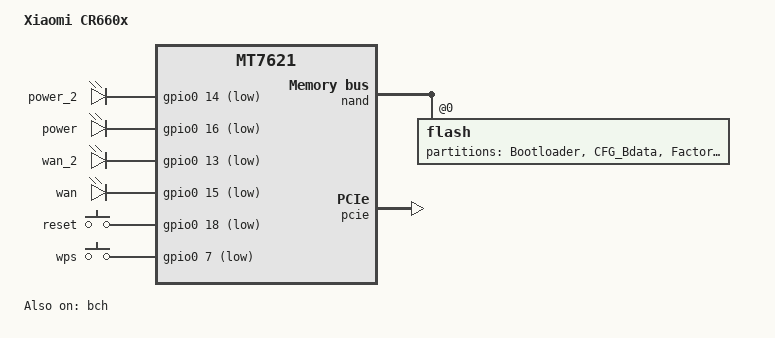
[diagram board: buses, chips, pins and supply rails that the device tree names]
/dts-v1/;

#include "mt7621.dtsi"
#include <dt-bindings/input/input.h>
#include "mt7621-raeth-gmac2.dtsi"
#include "mt7621-pinctrl-default-gpio.dtsi"

/ {
	compatible = "mediatek,mt7621-soc";
	model = "Xiaomi CR660x";

	chosen {
		bootargs = "console=ttyS0,115200";
	};

	leds {
		compatible = "gpio-leds";

		sys_yellow {
			label = "power_2";
			gpios = <&gpio0 14 GPIO_ACTIVE_LOW>;
		};

		sys_blue {
			label = "power";
			gpios = <&gpio0 16 GPIO_ACTIVE_LOW>;
		};

		net_yellow {
			label = "wan_2";
			gpios = <&gpio0 13 GPIO_ACTIVE_LOW>;
		};

		net_blue {
			label = "wan";
			gpios = <&gpio0 15 GPIO_ACTIVE_LOW>;
		};
	};

	gpio-keys-polled {
		compatible = "gpio-keys-polled";
		#address-cells = <1>;
		#size-cells = <0>;
		poll-interval = <20>;

		reset {
			label = "reset";
			gpios = <&gpio0 18 GPIO_ACTIVE_LOW>;
			linux,code = <KEY_RESTART>;
		};

		wps {
			label = "wps";
			gpios = <&gpio0 7 GPIO_ACTIVE_LOW>;
			linux,code = <KEY_WPS_BUTTON>;
		};
	};
};

&bch {
	status = "okay";
};

&nand {
	status = "okay";

	flash@0 {
		reg = <0>;
		nand-ecc-mode = "hw";
		partitions {
			compatible = "fixed-partitions";
			#address-cells = <1>;
			#size-cells = <1>;

			partition@0 {
				label = "Bootloader";
				reg = <0x00000 0x80000>; /* 512k */
			};

			partition@80000 {
				label = "CFG_Bdata";
				reg = <0x80000 0x80000>; /* 512k */
			};

			partition@100000 {
				label = "Factory";
				reg = <0x100000 0x80000>; /* 512k */
			};

			partition@180000 {
				label = "Crash";
				reg = <0x180000 0x80000>; /* 512k */
			};

			partition@200000 {
				label = "firmware";
				reg = <0x200000 0x1800000>; /* 24M */
			};

			partition@1a00000 {
				label = "Config";
				reg = <0x1a00000 0x80000>; /* 512K */
			};

			partition@1a80000 {
				label = "Storage";
				reg = <0x1a80000 0x400000>; /* 4096K */
			};

			partition@1e80000 {
				label = "RWFS";
				reg = <0x1e80000 0x6100000>;
			};

			partition@all {
				label = "ALL";
				reg = <0x0 0x7f80000>;
			};
		};
	};
};

&pcie {
	status = "okay";
};
